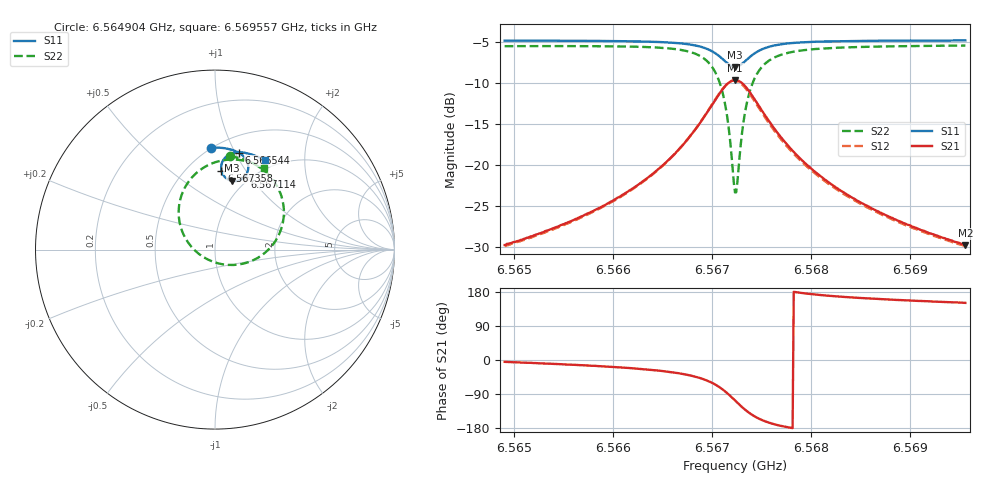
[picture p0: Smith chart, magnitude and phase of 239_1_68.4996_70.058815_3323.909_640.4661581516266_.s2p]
#  HZ  S  RI  R  50.00
! Rohde & Schwarz Vector Network Analyzer
! Rohde-Schwarz,ZNB20-2Port,1311601062101988,3.16
! Created: UTC 3/20/2024, 5:14:22 PM
! freq[Hz]  re:S11  im:S11  re:S21  im:S21  re:S12  im:S12  re:S22  im:S22
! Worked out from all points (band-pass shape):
!   401 points, 6.564904 GHz to 6.569557 GHz, reference 50 ohm
!   highest |S21| = -9.68 dB at 6.56723 GHz (marker M1); lowest = -29.7 dB at 6.569557 GHz (marker M2)
!   |S21| within 3 dB of the highest: 6.567 GHz to 6.567464 GHz (464.7 kHz wide, 0.00708 % of centre)
!   lowest |S11| = -8.1 dB at 6.56723 GHz (marker M3), VSWR 2.30, Z = 43.5 + j39.5 ohm
!   |S11| at or under -10 dB: nowhere
!   |S22| runs from -23.3 to -5.5 dB; largest |S21 - S12| = 0.017
!   S11 on the Smith chart (normalised r, x): 6.564904 GHz: 0.50, +0.83; 6.566544 GHz: 0.66, +1.04; 6.567114 GHz: 0.94, +0.94; 6.567358 GHz: 0.72, +0.78; 6.569557 GHz: 0.87, +1.29
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6.5649042e9  -0.0202 0.5687  0.0326 -0.00279  0.032 -0.00331  0.083 0.5204
6.5656835e9  0.046 0.5657  0.0475 -0.0115  0.0467 -0.0122  0.1635 0.501
6.5661255e9  0.0877 0.5577  0.0633 -0.0238  0.0623 -0.0245  0.2226 0.4746
6.5664628e9  0.1243 0.5444  0.084 -0.0446  0.0828 -0.0457  0.2836 0.4312
6.5665442e9  0.1342 0.5389  0.0906 -0.0534  0.0894 -0.0547  0.3014 0.4138
6.5667652e9  0.1634 0.5151  0.1122 -0.0943  0.1105 -0.0962  0.3557 0.3342
6.5669397e9  0.1834 0.4753  0.1219 -0.1642  0.1185 -0.168  0.3838 0.1993
6.5670443e9  0.1818 0.435  0.1005 -0.2348  0.0937 -0.2398  0.3467 0.0646
6.5671141e9  0.1634 0.404  0.0539 -0.2877  0.0429 -0.2913  0.2589 -0.0327
6.5671606e9  0.1398 0.3875  0.00236 -0.3137  -0.0115 -0.3142  0.1621 -0.0771
6.5672072e9  0.1089 0.3812  -0.0614 -0.3204  -0.0766 -0.3159  0.0454 -0.0825
6.5672304e9  0.0927 0.3832  -0.0945 -0.3142  -0.1093 -0.3068  -0.013 -0.0669
6.5672537e9  0.0771 0.3886  -0.1255 -0.3014  -0.1392 -0.2917  -0.0669 -0.0402
6.5673118e9  0.0475 0.4141  -0.1852 -0.2488  -0.1934 -0.235  -0.1639 0.0617
6.5673584e9  0.0362 0.4398  -0.2093 -0.1982  -0.213 -0.1839  -0.1977 0.154
6.5674514e9  0.0393 0.4846  -0.211 -0.1117  -0.2089 -0.101  -0.1858 0.3047
6.567591e9  0.067 0.5215  -0.1738 -0.0406  -0.1699 -0.0346  -0.1064 0.4241
6.5677654e9  0.1014 0.538  -0.1311 -0.00553  -0.1277 -0.00254  -0.0184 0.4796
6.5680097e9  0.1384 0.5422  -0.0935 0.0104  -0.0912 0.0119  0.0643 0.5001
6.5683586e9  0.1783 0.5371  -0.0643 0.0161  -0.0628 0.0167  0.1381 0.4994
6.568789e9  0.2178 0.5254  -0.0454 0.0168  -0.0444 0.0174  0.1985 0.4865
6.5695566e9  0.2773 0.4987  -0.0285 0.016  -0.0279 0.0161  0.2739 0.4552
